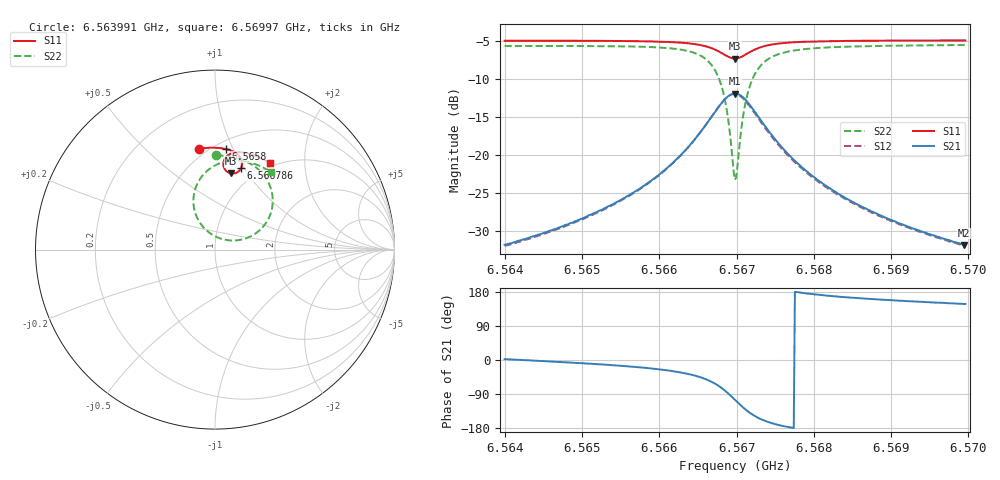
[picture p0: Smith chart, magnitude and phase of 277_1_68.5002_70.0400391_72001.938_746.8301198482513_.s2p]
#  HZ  S  RI  R  50.00
! Rohde & Schwarz Vector Network Analyzer
! Rohde-Schwarz,ZNB20-2Port,1311601062101988,3.16
! Created: UTC 3/20/2024, 5:00:59 PM
! freq[Hz]  re:S11  im:S11  re:S21  im:S21  re:S12  im:S12  re:S22  im:S22
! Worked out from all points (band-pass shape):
!   401 points, 6.563991 GHz to 6.56997 GHz, reference 50 ohm
!   highest |S21| = -11.88 dB at 6.56698 GHz (marker M1); lowest = -31.9 dB at 6.569955 GHz (marker M2)
!   |S21| within 3 dB of the highest: 6.566681 GHz to 6.567279 GHz (597.4 kHz wide, 0.0091 % of centre)
!   lowest |S11| = -7.3 dB at 6.56698 GHz (marker M3), VSWR 2.53, Z = 40.1 + j41.9 ohm
!   |S11| at or under -10 dB: nowhere
!   |S22| runs from -23.3 to -5.5 dB; largest |S21 - S12| = 0.011
!   S11 on the Smith chart (normalised r, x): 6.563991 GHz: 0.45, +0.75; 6.5658 GHz: 0.57, +0.94; 6.566786 GHz: 0.82, +0.97; 6.56997 GHz: 0.95, +1.35
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6.5639911e9  -0.0907 0.5617  0.0256 0.000951  0.025 0.000484  0.00733 0.5246
6.5649925e9  -0.0103 0.568  0.0375 -0.00567  0.0369 -0.00617  0.0978 0.5153
6.5657996e9  0.0615 0.5603  0.0589 -0.0218  0.0579 -0.0226  0.1916 0.4817
6.5659939e9  0.0809 0.5548  0.0675 -0.0307  0.0664 -0.0316  0.2207 0.4633
6.5663078e9  0.115 0.5386  0.086 -0.0583  0.0845 -0.0592  0.276 0.4092
6.566532e9  0.14 0.5136  0.0992 -0.1011  0.0971 -0.1029  0.3152 0.3263
6.5666814e9  0.1506 0.4839  0.0956 -0.153  0.0919 -0.1557  0.3171 0.2269
6.5667861e9  0.1461 0.4554  0.0704 -0.202  0.0641 -0.2045  0.2742 0.1351
6.5668758e9  0.1268 0.4322  0.02 -0.2398  0.0111 -0.2402  0.1835 0.0666
6.5669505e9  0.0995 0.4238  -0.0411 -0.2501  -0.0512 -0.2468  0.0744 0.0519
6.5669804e9  0.0875 0.4248  -0.067 -0.2458  -0.0768 -0.2406  0.0293 0.0621
6.5670103e9  0.0762 0.4288  -0.0916 -0.2363  -0.1005 -0.2294  -0.0124 0.0813
6.5670701e9  0.058 0.4431  -0.1313 -0.2056  -0.1377 -0.1965  -0.0771 0.14
6.5671298e9  0.0485 0.4623  -0.155 -0.1669  -0.1581 -0.1572  -0.1116 0.21
6.5671896e9  0.0468 0.4813  -0.1639 -0.1293  -0.1646 -0.1201  -0.1202 0.2767
6.5672644e9  0.0523 0.5014  -0.1613 -0.0901  -0.1599 -0.0825  -0.1079 0.344
6.5675334e9  0.0918 0.536  -0.1197 -0.019  -0.1172 -0.0158  -0.0133 0.4612
6.5679818e9  0.1483 0.5419  -0.0725 0.00785  -0.0708 0.00895  0.0998 0.4958
6.5684302e9  0.1916 0.5338  -0.0498 0.0131  -0.0488 0.0135  0.1686 0.4914
6.5689832e9  0.2371 0.5178  -0.0349 0.0141  -0.0342 0.0143  0.2288 0.4745
6.5699547e9  0.3066 0.4816  -0.0215 0.0135  -0.0212 0.0136  0.3082 0.4345
6.5699697e9  0.3075 0.481  -0.0216 0.0135  -0.021 0.0136  0.3094 0.4337
